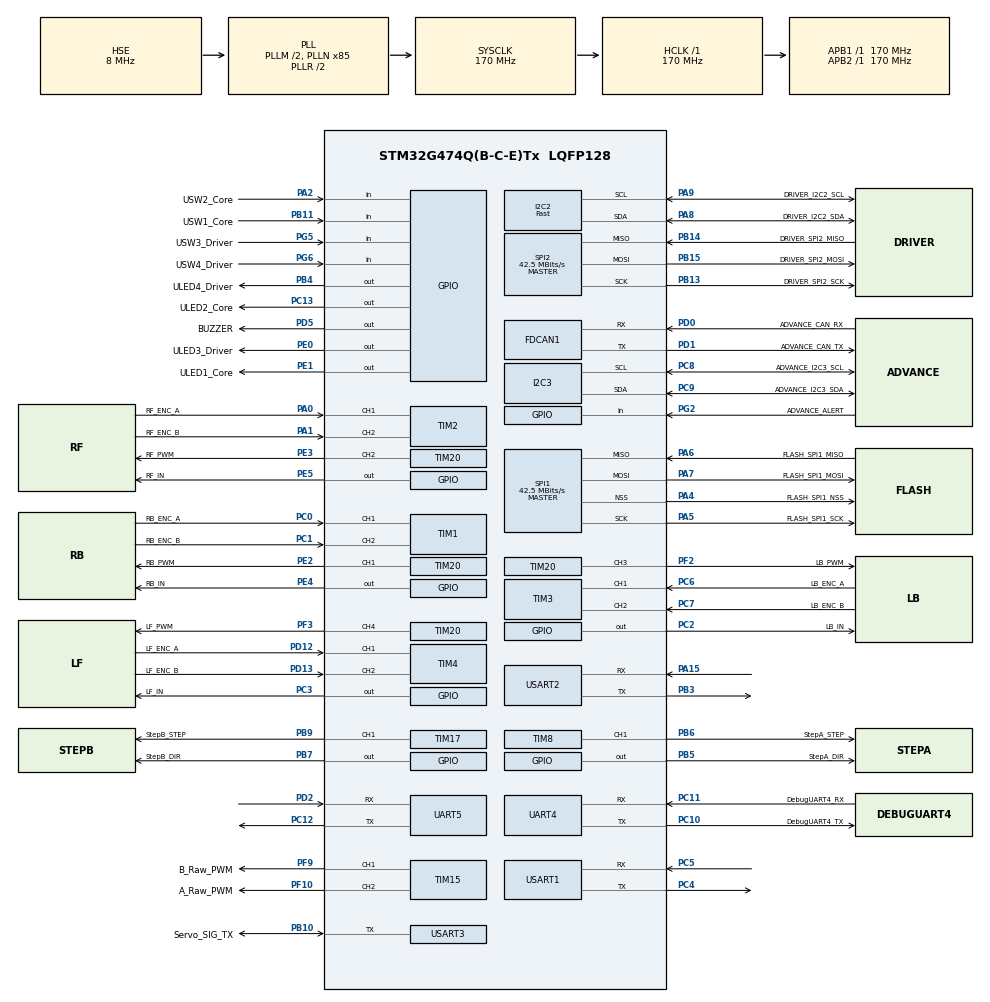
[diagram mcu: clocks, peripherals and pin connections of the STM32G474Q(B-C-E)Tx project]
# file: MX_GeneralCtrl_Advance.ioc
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FDCAN1.CalculateBaudRateNominal=500000
FDCAN1.CalculateTimeBitNominal=2000
FDCAN1.CalculateTimeQuantumNominal=200.0
FDCAN1.ClockDivider=FDCAN_CLOCK_DIV2
FDCAN1.DataPrescaler=17
FDCAN1.DataSyncJumpWidth=1
FDCAN1.DataTimeSeg1=7
FDCAN1.DataTimeSeg2=2
FDCAN1.ExtFiltersNbr=8
FDCAN1.FrameFormat=FDCAN_FRAME_CLASSIC
FDCAN1.NominalPrescaler=17
FDCAN1.NominalSyncJumpWidth=1
FDCAN1.NominalTimeSeg1=7
FDCAN1.NominalTimeSeg2=2
FDCAN1.StdFiltersNbr=28
I2C2.I2C_Speed_Mode=I2C_Fast
I2C2.Timing=0x40621236
I2C3.Timing=0x40B285C2
Mcu.Family=STM32G4
Mcu.Name=STM32G474Q(B-C-E)Tx
Mcu.Package=LQFP128
NVIC.FDCAN1_IT0_IRQn=true\:0\:0\:false\:false\:true\:true\:true\:true
NVIC.I2C2_ER_IRQn=true\:0\:0\:false\:false\:true\:true\:true\:true
NVIC.I2C2_EV_IRQn=true\:0\:0\:false\:false\:true\:true\:true\:true
NVIC.I2C3_ER_IRQn=true\:0\:0\:false\:false\:true\:true\:true\:true
NVIC.I2C3_EV_IRQn=true\:0\:0\:false\:false\:true\:true\:true\:true
NVIC.PriorityGroup=NVIC_PRIORITYGROUP_4
NVIC.TIM5_IRQn=true\:0\:0\:false\:false\:true\:true\:true\:true
NVIC.TIM7_DAC_IRQn=true\:0\:0\:false\:false\:true\:true\:true\:true
NVIC.TIM8_CC_IRQn=true\:0\:0\:false\:false\:true\:true\:true\:true
NVIC.UART4_IRQn=true\:0\:0\:false\:false\:true\:true\:true\:true
NVIC.UART5_IRQn=true\:0\:0\:false\:false\:true\:true\:true\:true
NVIC.USART1_IRQn=true\:0\:0\:false\:false\:true\:true\:true\:true
NVIC.USART2_IRQn=true\:0\:0\:false\:false\:true\:true\:true\:true
NVIC.USART3_IRQn=true\:0\:0\:false\:false\:true\:true\:true\:true
PA0.GPIO_Label=RF_ENC_A
PA0.Signal=S_TIM2_CH1
PA1.GPIO_Label=RF_ENC_B
PA1.Signal=S_TIM2_CH2
PA11.Signal=USB_DM
PA12.Signal=USB_DP
PA13.Mode=Serial_Wire
PA13.Signal=SYS_JTMS-SWDIO
PA14.Mode=Serial_Wire
PA14.Signal=SYS_JTCK-SWCLK
PA15.Mode=Asynchronous
PA15.Signal=USART2_RX
PA2.GPIO_Label=USW2_Core
PA2.GPIO_PuPd=GPIO_PULLUP
PA2.Signal=GPIO_Input
PA4.GPIO_Label=FLASH_SPI1_NSS
PA4.Mode=NSS_Signal_Hard_Output
PA4.Signal=SPI1_NSS
PA5.GPIO_Label=FLASH_SPI1_SCK
PA5.Mode=Full_Duplex_Master
PA5.Signal=SPI1_SCK
PA6.GPIO_Label=FLASH_SPI1_MISO
PA6.Mode=Full_Duplex_Master
PA6.Signal=SPI1_MISO
PA7.GPIO_Label=FLASH_SPI1_MOSI
PA7.Mode=Full_Duplex_Master
PA7.Signal=SPI1_MOSI
PA8.GPIO_Label=DRIVER_I2C2_SDA
PA8.Mode=I2C
PA8.Signal=I2C2_SDA
PA9.GPIO_Label=DRIVER_I2C2_SCL
PA9.Mode=I2C
PA9.Signal=I2C2_SCL
PB10.GPIO_Label=Servo_SIG_TX
PB10.Mode=Half_duplex(single_wire_mode)
PB10.Signal=USART3_TX
PB11.GPIO_Label=USW1_Core
PB11.GPIO_PuPd=GPIO_PULLUP
PB11.Signal=GPIO_Input
PB13.GPIO_Label=DRIVER_SPI2_SCK
PB13.Mode=Full_Duplex_Master
PB13.Signal=SPI2_SCK
PB14.GPIO_Label=DRIVER_SPI2_MISO
PB14.Mode=Full_Duplex_Master
PB14.Signal=SPI2_MISO
PB15.GPIO_Label=DRIVER_SPI2_MOSI
PB15.Mode=Full_Duplex_Master
PB15.Signal=SPI2_MOSI
PB3.Mode=Asynchronous
PB3.Signal=USART2_TX
PB4.GPIO_Label=ULED4_Driver
PB4.Signal=GPIO_Output
PB5.GPIO_Label=StepA_DIR
PB5.Signal=GPIO_Output
PB6.GPIO_Label=StepA_STEP
PB6.Signal=S_TIM8_CH1
PB7.GPIO_Label=StepB_DIR
PB7.Signal=GPIO_Output
PB9.GPIO_Label=StepB_STEP
PB9.Signal=S_TIM17_CH1
PC0.GPIO_Label=RB_ENC_A
PC0.Signal=S_TIM1_CH1
PC1.GPIO_Label=RB_ENC_B
PC1.Signal=S_TIM1_CH2
PC10.GPIO_Label=DebugUART4_TX
PC10.Mode=Asynchronous
PC10.Signal=UART4_TX
PC11.GPIO_Label=DebugUART4_RX
PC11.Mode=Asynchronous
PC11.Signal=UART4_RX
PC12.Mode=Asynchronous
PC12.Signal=UART5_TX
PC13.GPIO_Label=ULED2_Core
PC13.Signal=GPIO_Output
PC14-OSC32_IN.Mode=LSE-External-Oscillator
PC14-OSC32_IN.Signal=RCC_OSC32_IN
PC15-OSC32_OUT.Mode=LSE-External-Oscillator
PC15-OSC32_OUT.Signal=RCC_OSC32_OUT
PC2.GPIO_Label=LB_IN
PC2.Signal=GPIO_Output
PC3.GPIO_Label=LF_IN
PC3.Signal=GPIO_Output
PC4.GPIO_PuPd=GPIO_NOPULL
PC4.Mode=Asynchronous
PC4.Signal=USART1_TX
PC5.GPIO_PuPd=GPIO_PULLUP
PC5.Mode=Asynchronous
PC5.Signal=USART1_RX
PC6.GPIO_Label=LB_ENC_A
PC6.Signal=S_TIM3_CH1
PC7.GPIO_Label=LB_ENC_B
PC7.Signal=S_TIM3_CH2
PC8.GPIO_Label=ADVANCE_I2C3_SCL
PC8.Mode=I2C
PC8.Signal=I2C3_SCL
PC9.GPIO_Label=ADVANCE_I2C3_SDA
PC9.Mode=I2C
PC9.Signal=I2C3_SDA
PD0.GPIO_Label=ADVANCE_CAN_RX
PD0.Mode=FDCAN_Activate
PD0.Signal=FDCAN1_RX
PD1.GPIO_Label=ADVANCE_CAN_TX
PD1.Mode=FDCAN_Activate
PD1.Signal=FDCAN1_TX
PD12.GPIO_Label=LF_ENC_A
PD12.Signal=S_TIM4_CH1
PD13.GPIO_Label=LF_ENC_B
PD13.Signal=S_TIM4_CH2
PD2.Mode=Asynchronous
PD2.Signal=UART5_RX
PD5.GPIO_Label=BUZZER
PD5.GPIO_ModeDefaultOutputPP=GPIO_MODE_OUTPUT_PP
PD5.GPIO_PuPd=GPIO_NOPULL
PD5.Signal=GPIO_Output
PE0.GPIO_Label=ULED3_Driver
PE0.Signal=GPIO_Output
PE1.GPIO_Label=ULED1_Core
PE1.Signal=GPIO_Output
PE2.GPIO_Label=RB_PWM
PE2.Signal=S_TIM20_CH1
PE3.GPIO_Label=RF_PWM
PE3.Signal=S_TIM20_CH2
PE4.GPIO_Label=RB_IN
PE4.Signal=GPIO_Output
PE5.GPIO_Label=RF_IN
PE5.Signal=GPIO_Output
PF0-OSC_IN.Mode=HSE-External-Oscillator
PF0-OSC_IN.Signal=RCC_OSC_IN
PF1-OSC_OUT.Mode=HSE-External-Oscillator
PF1-OSC_OUT.Signal=RCC_OSC_OUT
PF10.GPIO_Label=A_Raw_PWM
PF10.Signal=S_TIM15_CH2
PF2.GPIO_Label=LB_PWM
PF2.Signal=S_TIM20_CH3
PF3.GPIO_Label=LF_PWM
PF3.Signal=S_TIM20_CH4
PF9.GPIO_Label=B_Raw_PWM
PF9.Signal=S_TIM15_CH1
PG2.GPIO_Label=ADVANCE_ALERT
PG2.Signal=GPIO_Input
PG5.GPIO_Label=USW3_Driver
PG5.GPIO_PuPd=GPIO_PULLUP
PG5.Signal=GPIO_Input
PG6.GPIO_Label=USW4_Driver
PG6.GPIO_PuPd=GPIO_PULLUP
PG6.Signal=GPIO_Input
ProjectManager.HeapSize=0x200
ProjectManager.StackSize=0x400
ProjectManager.TargetToolchain=MDK-ARM V5.32
RCC.ADC12Freq_Value=170000000
RCC.ADC345Freq_Value=170000000
RCC.AHBFreq_Value=170000000
RCC.APB1Freq_Value=170000000
RCC.APB1TimFreq_Value=170000000
RCC.APB2Freq_Value=170000000
RCC.APB2TimFreq_Value=170000000
RCC.CK48CLockSelection=RCC_USBCLKSOURCE_HSI48
RCC.CortexFreq_Value=170000000
RCC.EXTERNAL_CLOCK_VALUE=12288000
RCC.HCLKFreq_Value=170000000
RCC.HSE_VALUE=8000000
RCC.HSI48_VALUE=48000000
RCC.HSI_VALUE=16000000
RCC.PLLM=RCC_PLLM_DIV2
RCC.PLLN=85
RCC.PLLQ=RCC_PLLQ_DIV6
RCC.PLLSourceVirtual=RCC_PLLSOURCE_HSE
RCC.RTCClockSelection=RCC_RTCCLKSOURCE_LSE
RCC.SYSCLKFreq_VALUE=170000000
RCC.SYSCLKSource=RCC_SYSCLKSOURCE_PLLCLK
RCC.USBFreq_Value=48000000
RCC.VCOOutputFreq_Value=340000000
SH.S_TIM15_CH1.0=TIM15_CH1,PWM Generation1 CH1
SH.S_TIM15_CH2.0=TIM15_CH2,PWM Generation2 CH2
SH.S_TIM17_CH1.0=TIM17_CH1,PWM Generation1 CH1
SH.S_TIM1_CH1.0=TIM1_CH1,Encoder_Interface
SH.S_TIM1_CH2.0=TIM1_CH2,Encoder_Interface
SH.S_TIM20_CH1.0=TIM20_CH1,PWM Generation1 CH1
SH.S_TIM20_CH2.0=TIM20_CH2,PWM Generation2 CH2
SH.S_TIM20_CH3.0=TIM20_CH3,PWM Generation3 CH3
SH.S_TIM20_CH4.0=TIM20_CH4,PWM Generation4 CH4
SH.S_TIM2_CH1.0=TIM2_CH1,Encoder_Interface
SH.S_TIM2_CH2.0=TIM2_CH2,Encoder_Interface
SH.S_TIM3_CH1.0=TIM3_CH1,Encoder_Interface
SH.S_TIM3_CH2.0=TIM3_CH2,Encoder_Interface
SH.S_TIM4_CH1.0=TIM4_CH1,Encoder_Interface
SH.S_TIM4_CH2.0=TIM4_CH2,Encoder_Interface
SH.S_TIM8_CH1.0=TIM8_CH1,PWM Generation1 CH1
SPI1.BaudRatePrescaler=SPI_BAUDRATEPRESCALER_4
SPI1.CalculateBaudRate=42.5 MBits/s
SPI1.Direction=SPI_DIRECTION_2LINES
SPI1.Mode=SPI_MODE_MASTER
SPI1.VirtualNSS=VM_NSSHARD
SPI1.VirtualType=VM_MASTER
SPI2.BaudRatePrescaler=SPI_BAUDRATEPRESCALER_4
SPI2.CalculateBaudRate=42.5 MBits/s
SPI2.Direction=SPI_DIRECTION_2LINES
SPI2.Mode=SPI_MODE_MASTER
SPI2.VirtualType=VM_MASTER
STMicroelectronics.X-CUBE-ALGOBUILD.1.4.0.LibraryCcDSPOoLibraryJjDSPOoLibrary=true
TIM1.AutoReloadPreload=TIM_AUTORELOAD_PRELOAD_ENABLE
TIM15.Channel-PWM\ Generation1\ CH1=TIM_CHANNEL_1
TIM15.Channel-PWM\ Generation2\ CH2=TIM_CHANNEL_2
TIM16.AutoReloadPreload=TIM_AUTORELOAD_PRELOAD_ENABLE
TIM16.PeriodNoDither=1000-1
TIM16.Prescaler=170-1
TIM17.Channel=TIM_CHANNEL_1
TIM17.OCMode_PWM=TIM_OCMODE_PWM2
TIM17.PeriodNoDither=1000-1
TIM17.Prescaler=1000-1
TIM17.PulseNoDither_1=500
TIM2.AutoReloadPreload=TIM_AUTORELOAD_PRELOAD_ENABLE
TIM20.AutoReloadPreload=TIM_AUTORELOAD_PRELOAD_ENABLE
TIM20.Channel-PWM\ Generation1\ CH1=TIM_CHANNEL_1
TIM20.Channel-PWM\ Generation2\ CH2=TIM_CHANNEL_2
TIM20.Channel-PWM\ Generation3\ CH3=TIM_CHANNEL_3
TIM20.Channel-PWM\ Generation4\ CH4=TIM_CHANNEL_4
TIM20.PeriodNoDither=10000-1
TIM20.Prescaler=170-1
TIM3.AutoReloadPreload=TIM_AUTORELOAD_PRELOAD_ENABLE
TIM4.AutoReloadPreload=TIM_AUTORELOAD_PRELOAD_ENABLE
TIM5.AutoReloadPreload=TIM_AUTORELOAD_PRELOAD_ENABLE
TIM5.PeriodNoDither=1000-1
TIM5.Prescaler=170-1
TIM6.PeriodNoDither=65535
TIM6.Prescaler=170-1
TIM7.PeriodNoDither=10000-1
TIM7.Prescaler=170-1
TIM8.Channel-PWM\ Generation1\ CH1=TIM_CHANNEL_1
TIM8.OCMode_PWM-PWM\ Generation1\ CH1=TIM_OCMODE_PWM2
TIM8.PeriodNoDither=1000-1
TIM8.Prescaler=170
TIM8.PulseNoDither_1=500
USART1.VirtualMode-Asynchronous=VM_ASYNC
USART2.VirtualMode-Asynchronous=VM_ASYNC
USART3.VirtualMode-Half_duplex(single_wire_mode)=VM_ASYNC
VP_RTC_VS_RTC_Activate.Mode=RTC_Enabled
VP_STMicroelectronics.X-CUBE-ALGOBUILD_VS_DSPOoLibraryJjLibrary_1.4.0_1.4.0.Mode=DSPOoLibraryJjLibrary
VP_SYS_VS_DBSignals.Mode=DisableDeadBatterySignals
VP_TIM15_VS_ClockSourceINT.Mode=Internal
VP_TIM16_VS_ClockSourceINT.Mode=Enable_Timer
VP_TIM17_VS_ClockSourceINT.Mode=Enable_Timer
VP_TIM20_VS_ClockSourceINT.Mode=Internal
VP_TIM5_VS_ClockSourceINT.Mode=Internal
VP_TIM6_VS_ClockSourceINT.Mode=Enable_Timer
VP_TIM7_VS_ClockSourceINT.Mode=Enable_Timer
VP_TIM8_VS_ClockSourceINT.Mode=Internal
board=custom

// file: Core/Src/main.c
/* USER CODE BEGIN Header */
/**
 ******************************************************************************
 * @file           : main.c
 * @brief          : Main program body
 ******************************************************************************
 * @attention
 *
 * Copyright (c) 2025 STMicroelectronics.
 * All rights reserved.
 *
 * This software is licensed under terms that can be found in the LICENSE file
 * in the root directory of this software component.
 * If no LICENSE file comes with this software, it is provided AS-IS.
 *
 ******************************************************************************
 */
/* USER CODE END Header */
#include "main.h"
#include "fdcan.h"
#include "i2c.h"
#include "rtc.h"
#include "spi.h"
#include "tim.h"
#include "usart.h"
#include "gpio.h"

/* USER CODE BEGIN Includes */
#include "main.h"
#include "task.h"
#include "drv_math.h"
#include "PID.h"
#include "jy901.h"
#include "motor.h"
#include "Encoder.h"
#include "delay.h"
#include "ZX_servo.h"
#include "BSP.h"
#include "StepMotor.h"
#include "arm_math.h"
#include "TJC.h"
/* USER CODE END Includes */

void SystemClock_Config(void);

int main(void)
{

  /* MCU Configuration--------------------------------------------------------*/

  /* Reset of all peripherals, Initializes the Flash interface and the Systick. */
  HAL_Init();

  /* Configure the system clock */
  SystemClock_Config();

  /* Initialize all configured peripherals */
  MX_GPIO_Init();
  MX_RTC_Init();
  MX_SPI1_Init();
  MX_UART4_Init();
  MX_I2C2_Init();
  MX_I2C3_Init();
  MX_SPI2_Init();
  MX_TIM1_Init();
  MX_TIM2_Init();
  MX_TIM3_Init();
  MX_TIM4_Init();
  MX_TIM15_Init();
  MX_TIM20_Init();
  MX_UART5_Init();
  MX_USART1_UART_Init();
  MX_FDCAN1_Init();
  MX_TIM8_Init();
  MX_USART3_UART_Init();
  MX_TIM5_Init();
  MX_TIM6_Init();
  MX_TIM16_Init();
  MX_USART2_UART_Init();
  MX_TIM17_Init();
  MX_TIM7_Init();
  /* USER CODE BEGIN 2 */
  // Init----------------------------

  // task_init(); // 初始化任务
  StepMotorStruct stepMotor;
  StepMotor_Init(&stepMotor, 1, 128);

  StepMotor_Disable(&stepMotor);

  //StepMotor_SetZero(&stepMotor);

  StepMotor_Enable(&stepMotor);
  //--------------------------------
  /* USER CODE END 2 */

  /* Infinite loop */
  /* USER CODE BEGIN WHILE */
  while (1)
  {
    // Test----------------------------

    //--------------------------------
    /* USER CODE END WHILE */

  }
}

void SystemClock_Config(void)
{
  RCC_OscInitTypeDef RCC_OscInitStruct = {0};
  RCC_ClkInitTypeDef RCC_ClkInitStruct = {0};

  /** Configure the main internal regulator output voltage
   */
  HAL_PWREx_ControlVoltageScaling(PWR_REGULATOR_VOLTAGE_SCALE1_BOOST);

  /** Configure LSE Drive Capability
   */
  HAL_PWR_EnableBkUpAccess();
  __HAL_RCC_LSEDRIVE_CONFIG(RCC_LSEDRIVE_LOW);

  /** Initializes the RCC Oscillators according to the specified parameters
   * in the RCC_OscInitTypeDef structure.
   */
  RCC_OscInitStruct.OscillatorType = RCC_OSCILLATORTYPE_HSE | RCC_OSCILLATORTYPE_LSE;
  RCC_OscInitStruct.HSEState = RCC_HSE_ON;
  RCC_OscInitStruct.LSEState = RCC_LSE_ON;
  RCC_OscInitStruct.PLL.PLLState = RCC_PLL_ON;
  RCC_OscInitStruct.PLL.PLLSource = RCC_PLLSOURCE_HSE;
  RCC_OscInitStruct.PLL.PLLM = RCC_PLLM_DIV2;
  RCC_OscInitStruct.PLL.PLLN = 85;
  RCC_OscInitStruct.PLL.PLLP = RCC_PLLP_DIV2;
  RCC_OscInitStruct.PLL.PLLQ = RCC_PLLQ_DIV6;
  RCC_OscInitStruct.PLL.PLLR = RCC_PLLR_DIV2;
  if (HAL_RCC_OscConfig(&RCC_OscInitStruct) != HAL_OK)
  {
    Error_Handler();
  }

  /** Initializes the CPU, AHB and APB buses clocks
   */
  RCC_ClkInitStruct.ClockType = RCC_CLOCKTYPE_HCLK | RCC_CLOCKTYPE_SYSCLK | RCC_CLOCKTYPE_PCLK1 | RCC_CLOCKTYPE_PCLK2;
  RCC_ClkInitStruct.SYSCLKSource = RCC_SYSCLKSOURCE_PLLCLK;
  RCC_ClkInitStruct.AHBCLKDivider = RCC_SYSCLK_DIV1;
  RCC_ClkInitStruct.APB1CLKDivider = RCC_HCLK_DIV1;
  RCC_ClkInitStruct.APB2CLKDivider = RCC_HCLK_DIV1;

  if (HAL_RCC_ClockConfig(&RCC_ClkInitStruct, FLASH_LATENCY_4) != HAL_OK)
  {
    Error_Handler();
  }
}

void Error_Handler(void)
{
  __disable_irq();
  while (1)
  {
  }
}
